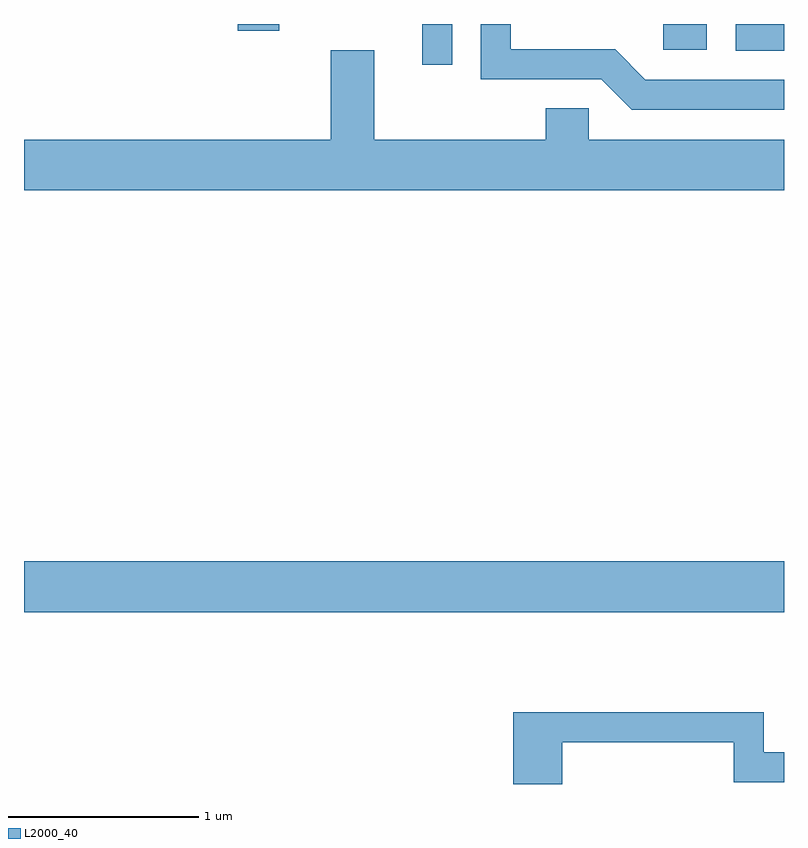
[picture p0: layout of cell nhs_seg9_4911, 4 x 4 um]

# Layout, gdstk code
import gdstk
lib = gdstk.Library(unit=1e-6, precision=1e-09)
def R(c, l, rs):  # rectangles x0, y0, x1, y1
    for r in rs: c.add(gdstk.rectangle(r[:2], r[2:], *l))
def P(c, l, *ps):  # polygons
    for p in ps: c.add(gdstk.Polygon(p, *l))
L2000_40 = (2000, 40)

nhs_seg9_4911 = lib.new_cell('nhs_seg9_4911')
R(nhs_seg9_4911, L2000_40, [(329.611,2027.336,333.611,2027.604), (331.706,2030.218,331.864,2030.432), (333.356,2030.291,333.611,2030.432), (332.976,2030.296,333.204,2030.432), (330.736,2030.396,330.954,2030.432)])
P(nhs_seg9_4911, L2000_40, [(333.611,2030.139),(332.882,2030.139),(332.722,2030.299),(332.174,2030.299),(332.174,2030.432),(332.016,2030.432),(332.016,2030.141),(332.649,2030.141),(332.809,2029.981),(333.611,2029.981)],
  [(333.611,2029.824),(332.584,2029.824),(332.584,2029.989),(332.356,2029.989),(332.356,2029.824),(331.454,2029.824),(331.454,2030.294),(331.226,2030.294),(331.226,2029.824),(329.611,2029.824),(329.611,2029.556),(333.611,2029.556)],
  [(332.444,2026.651),(333.346,2026.651),(333.346,2026.441),(333.611,2026.441),(333.611,2026.599),(333.504,2026.599),(333.504,2026.809),(332.186,2026.809),(332.186,2026.432),(332.444,2026.432)])

lib.write_gds('nhs_seg9_4911.gds')
